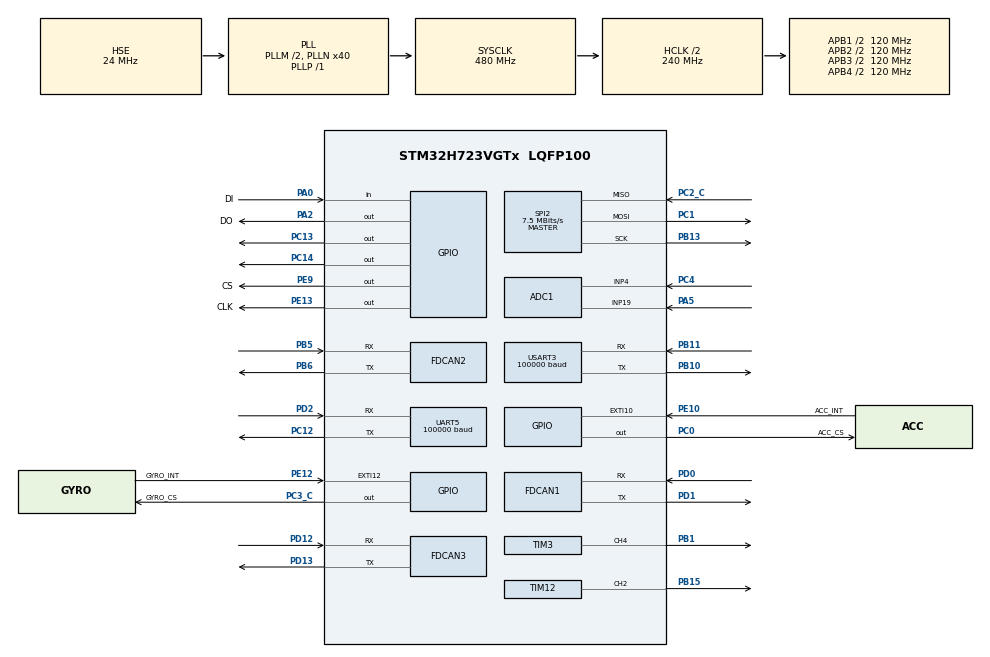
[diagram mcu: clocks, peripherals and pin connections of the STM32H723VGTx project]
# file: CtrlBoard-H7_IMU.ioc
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ADC1.Channel-0\#ChannelRegularConversion=ADC_CHANNEL_4
ADC1.Channel-1\#ChannelRegularConversion=ADC_CHANNEL_19
ADC1.ClockPrescaler=ADC_CLOCK_ASYNC_DIV64
ADC1.ContinuousConvMode=ENABLE
ADC1.ConversionDataManagement=ADC_CONVERSIONDATA_DMA_CIRCULAR
ADC1.NbrOfConversion=2
ADC1.NbrOfConversionFlag=1
ADC1.OffsetNumber-0\#ChannelRegularConversion=ADC_OFFSET_NONE
ADC1.OffsetNumber-1\#ChannelRegularConversion=ADC_OFFSET_NONE
ADC1.OffsetSignedSaturation-0\#ChannelRegularConversion=DISABLE
ADC1.OffsetSignedSaturation-1\#ChannelRegularConversion=DISABLE
ADC1.Rank-0\#ChannelRegularConversion=1
ADC1.Rank-1\#ChannelRegularConversion=2
ADC1.SamplingTime-0\#ChannelRegularConversion=ADC_SAMPLETIME_32CYCLES_5
ADC1.SamplingTime-1\#ChannelRegularConversion=ADC_SAMPLETIME_32CYCLES_5
ADC1.master=1
Dma.ADC1.3.Direction=DMA_PERIPH_TO_MEMORY
Dma.ADC1.3.EventEnable=DISABLE
Dma.ADC1.3.FIFOMode=DMA_FIFOMODE_DISABLE
Dma.ADC1.3.Instance=DMA1_Stream3
Dma.ADC1.3.MemDataAlignment=DMA_MDATAALIGN_HALFWORD
Dma.ADC1.3.MemInc=DMA_MINC_ENABLE
Dma.ADC1.3.Mode=DMA_CIRCULAR
Dma.ADC1.3.PeriphDataAlignment=DMA_PDATAALIGN_HALFWORD
Dma.ADC1.3.PeriphInc=DMA_PINC_DISABLE
Dma.ADC1.3.Polarity=HAL_DMAMUX_REQ_GEN_RISING
Dma.ADC1.3.Priority=DMA_PRIORITY_LOW
Dma.ADC1.3.RequestNumber=1
Dma.ADC1.3.SignalID=NONE
Dma.ADC1.3.SyncEnable=DISABLE
Dma.ADC1.3.SyncPolarity=HAL_DMAMUX_SYNC_NO_EVENT
Dma.ADC1.3.SyncRequestNumber=1
Dma.ADC1.3.SyncSignalID=NONE
Dma.Request0=SPI2_RX
Dma.Request1=SPI2_TX
Dma.Request2=UART5_RX
Dma.Request3=ADC1
Dma.Request4=USART3_RX
Dma.SPI2_RX.0.Direction=DMA_PERIPH_TO_MEMORY
Dma.SPI2_RX.0.EventEnable=DISABLE
Dma.SPI2_RX.0.FIFOMode=DMA_FIFOMODE_DISABLE
Dma.SPI2_RX.0.Instance=DMA1_Stream0
Dma.SPI2_RX.0.MemDataAlignment=DMA_MDATAALIGN_BYTE
Dma.SPI2_RX.0.MemInc=DMA_MINC_ENABLE
Dma.SPI2_RX.0.Mode=DMA_NORMAL
Dma.SPI2_RX.0.PeriphDataAlignment=DMA_PDATAALIGN_BYTE
Dma.SPI2_RX.0.PeriphInc=DMA_PINC_DISABLE
Dma.SPI2_RX.0.Polarity=HAL_DMAMUX_REQ_GEN_RISING
Dma.SPI2_RX.0.Priority=DMA_PRIORITY_VERY_HIGH
Dma.SPI2_RX.0.RequestNumber=1
Dma.SPI2_RX.0.SignalID=NONE
Dma.SPI2_RX.0.SyncEnable=DISABLE
Dma.SPI2_RX.0.SyncPolarity=HAL_DMAMUX_SYNC_NO_EVENT
Dma.SPI2_RX.0.SyncRequestNumber=1
Dma.SPI2_RX.0.SyncSignalID=NONE
Dma.SPI2_TX.1.Direction=DMA_MEMORY_TO_PERIPH
Dma.SPI2_TX.1.EventEnable=DISABLE
Dma.SPI2_TX.1.FIFOMode=DMA_FIFOMODE_DISABLE
Dma.SPI2_TX.1.Instance=DMA1_Stream2
Dma.SPI2_TX.1.MemDataAlignment=DMA_MDATAALIGN_BYTE
Dma.SPI2_TX.1.MemInc=DMA_MINC_ENABLE
Dma.SPI2_TX.1.Mode=DMA_NORMAL
Dma.SPI2_TX.1.PeriphDataAlignment=DMA_PDATAALIGN_BYTE
Dma.SPI2_TX.1.PeriphInc=DMA_PINC_DISABLE
Dma.SPI2_TX.1.Polarity=HAL_DMAMUX_REQ_GEN_RISING
Dma.SPI2_TX.1.Priority=DMA_PRIORITY_HIGH
Dma.SPI2_TX.1.RequestNumber=1
Dma.SPI2_TX.1.SignalID=NONE
Dma.SPI2_TX.1.SyncEnable=DISABLE
Dma.SPI2_TX.1.SyncPolarity=HAL_DMAMUX_SYNC_NO_EVENT
Dma.SPI2_TX.1.SyncRequestNumber=1
Dma.SPI2_TX.1.SyncSignalID=NONE
Dma.UART5_RX.2.Direction=DMA_PERIPH_TO_MEMORY
Dma.UART5_RX.2.EventEnable=DISABLE
Dma.UART5_RX.2.FIFOMode=DMA_FIFOMODE_DISABLE
Dma.UART5_RX.2.Instance=DMA1_Stream1
Dma.UART5_RX.2.MemDataAlignment=DMA_MDATAALIGN_BYTE
Dma.UART5_RX.2.MemInc=DMA_MINC_ENABLE
Dma.UART5_RX.2.Mode=DMA_CIRCULAR
Dma.UART5_RX.2.PeriphDataAlignment=DMA_PDATAALIGN_BYTE
Dma.UART5_RX.2.PeriphInc=DMA_PINC_DISABLE
Dma.UART5_RX.2.Polarity=HAL_DMAMUX_REQ_GEN_RISING
Dma.UART5_RX.2.Priority=DMA_PRIORITY_LOW
Dma.UART5_RX.2.RequestNumber=1
Dma.UART5_RX.2.SignalID=NONE
Dma.UART5_RX.2.SyncEnable=DISABLE
Dma.UART5_RX.2.SyncPolarity=HAL_DMAMUX_SYNC_NO_EVENT
Dma.UART5_RX.2.SyncRequestNumber=1
Dma.UART5_RX.2.SyncSignalID=NONE
Dma.USART3_RX.4.Direction=DMA_PERIPH_TO_MEMORY
Dma.USART3_RX.4.EventEnable=DISABLE
Dma.USART3_RX.4.FIFOMode=DMA_FIFOMODE_DISABLE
Dma.USART3_RX.4.Instance=DMA1_Stream4
Dma.USART3_RX.4.MemDataAlignment=DMA_MDATAALIGN_BYTE
Dma.USART3_RX.4.MemInc=DMA_MINC_ENABLE
Dma.USART3_RX.4.Mode=DMA_CIRCULAR
Dma.USART3_RX.4.PeriphDataAlignment=DMA_PDATAALIGN_BYTE
Dma.USART3_RX.4.PeriphInc=DMA_PINC_DISABLE
Dma.USART3_RX.4.Polarity=HAL_DMAMUX_REQ_GEN_RISING
Dma.USART3_RX.4.Priority=DMA_PRIORITY_LOW
Dma.USART3_RX.4.RequestNumber=1
Dma.USART3_RX.4.SignalID=NONE
Dma.USART3_RX.4.SyncEnable=DISABLE
Dma.USART3_RX.4.SyncPolarity=HAL_DMAMUX_SYNC_NO_EVENT
Dma.USART3_RX.4.SyncRequestNumber=1
Dma.USART3_RX.4.SyncSignalID=NONE
FDCAN1.CalculateBaudRateNominal=1000000
FDCAN1.CalculateTimeBitNominal=1000
FDCAN1.CalculateTimeQuantumNominal=40.0
FDCAN1.DataPrescaler=4
FDCAN1.DataTimeSeg1=19
FDCAN1.DataTimeSeg2=5
FDCAN1.ExtFiltersNbr=5
FDCAN1.NominalPrescaler=4
FDCAN1.NominalTimeSeg1=19
FDCAN1.NominalTimeSeg2=5
FDCAN1.RxFifo0ElmtSize=FDCAN_DATA_BYTES_24
FDCAN1.RxFifo0ElmtsNbr=4
FDCAN1.RxFifo1ElmtSize=FDCAN_DATA_BYTES_24
FDCAN1.StdFiltersNbr=5
FDCAN1.TxElmtSize=FDCAN_DATA_BYTES_24
FDCAN1.TxFifoQueueElmtsNbr=8
FDCAN2.CalculateBaudRateNominal=1000000
FDCAN2.CalculateTimeBitNominal=1000
FDCAN2.CalculateTimeQuantumNominal=50.0
FDCAN2.DataPrescaler=5
FDCAN2.DataTimeSeg1=14
FDCAN2.DataTimeSeg2=5
FDCAN2.ExtFiltersNbr=5
FDCAN2.MessageRAMOffset=854
FDCAN2.NominalPrescaler=5
FDCAN2.NominalTimeSeg1=14
FDCAN2.NominalTimeSeg2=5
FDCAN2.RxFifo1ElmtSize=FDCAN_DATA_BYTES_24
FDCAN2.RxFifo1ElmtsNbr=4
FDCAN2.StdFiltersNbr=5
FDCAN2.TxElmtSize=FDCAN_DATA_BYTES_16
FDCAN2.TxFifoQueueElmtsNbr=4
FDCAN3.CalculateBaudRateNominal=1000000
FDCAN3.CalculateTimeBitNominal=1000
FDCAN3.CalculateTimeQuantumNominal=50.0
FDCAN3.DataPrescaler=5
FDCAN3.DataTimeSeg1=14
FDCAN3.DataTimeSeg2=5
FDCAN3.ExtFiltersNbr=5
FDCAN3.MessageRAMOffset=1709
FDCAN3.NominalPrescaler=5
FDCAN3.NominalTimeSeg1=14
FDCAN3.NominalTimeSeg2=5
FDCAN3.RxFifo0ElmtsNbr=2
FDCAN3.StdFiltersNbr=5
FDCAN3.TxFifoQueueElmtsNbr=3
FREERTOS.MEMORY_ALLOCATION=0
FREERTOS.Tasks01=defaultTask,-3,128,StartDefaultTask,Default,NULL,Dynamic,NULL,NULL;INS_TASK,3,512,INS_Task,Default,NULL,Dynamic,NULL,NULL;CHASSIS_TASK,1,512,Chassis_Task,Default,NULL,Dynamic,NULL,NULL;OBSERVE_TASK,2,512,OBSERVE_Task,Default,NULL,Dynamic,NULL,NULL;REFEREE,1,128,referee_usart_task,As weak,NULL,Dynamic,NULL,NULL;Ui_task,-3,256,UI_task,As weak,NULL,Dynamic,NULL,NULL
FREERTOS.configENABLE_FPU=1
FREERTOS.configTOTAL_HEAP_SIZE=30720
Mcu.Family=STM32H7
Mcu.Name=STM32H723VGTx
Mcu.Package=LQFP100
NVIC.DMA1_Stream0_IRQn=true\:6\:0\:true\:false\:true\:true\:false\:true\:true
NVIC.DMA1_Stream1_IRQn=true\:5\:0\:false\:false\:true\:true\:false\:true\:true
NVIC.DMA1_Stream2_IRQn=true\:5\:0\:false\:false\:true\:true\:false\:true\:true
NVIC.DMA1_Stream3_IRQn=true\:5\:0\:false\:false\:true\:true\:false\:true\:true
NVIC.DMA1_Stream4_IRQn=true\:5\:0\:false\:false\:true\:true\:false\:true\:true
NVIC.FDCAN1_IT0_IRQn=true\:6\:0\:true\:false\:true\:true\:true\:true\:true
NVIC.FDCAN2_IT0_IRQn=true\:5\:0\:true\:false\:true\:true\:true\:true\:true
NVIC.FDCAN3_IT0_IRQn=true\:5\:0\:false\:false\:true\:true\:true\:true\:true
NVIC.PriorityGroup=NVIC_PRIORITYGROUP_4
NVIC.SPI2_IRQn=true\:5\:0\:true\:false\:true\:true\:false\:true\:true
NVIC.TIM2_IRQn=true\:15\:0\:false\:false\:true\:false\:false\:true\:true
NVIC.TimeBase=TIM2_IRQn
NVIC.TimeBaseIP=TIM2
NVIC.UART5_IRQn=true\:5\:0\:false\:false\:true\:true\:true\:true\:true
NVIC.USART3_IRQn=true\:5\:0\:false\:false\:true\:true\:true\:true\:true
PA0.GPIO_Label=DI
PA0.GPIO_PuPd=GPIO_PULLUP
PA0.Signal=GPIO_Input
PA13(JTMS/SWDIO).Mode=Serial_Wire
PA13(JTMS/SWDIO).Signal=DEBUG_JTMS-SWDIO
PA14(JTCK/SWCLK).Mode=Serial_Wire
PA14(JTCK/SWCLK).Signal=DEBUG_JTCK-SWCLK
PA2.GPIO_Label=DO
PA2.GPIO_PuPd=GPIO_PULLUP
PA2.GPIO_Speed=GPIO_SPEED_FREQ_VERY_HIGH
PA2.PinState=GPIO_PIN_SET
PA2.Signal=GPIO_Output
PA5.Signal=ADCx_INP19
PB1.Signal=S_TIM3_CH4
PB10.Mode=Asynchronous
PB10.Signal=USART3_TX
PB11.Mode=Asynchronous
PB11.Signal=USART3_RX
PB13.GPIO_Speed=GPIO_SPEED_FREQ_VERY_HIGH
PB13.Mode=Full_Duplex_Master
PB13.Signal=SPI2_SCK
PB15.Signal=S_TIM12_CH2
PB5.Mode=FDCAN_Activate
PB5.Signal=FDCAN2_RX
PB6.Mode=FDCAN_Activate
PB6.Signal=FDCAN2_TX
PC0.GPIO_Label=ACC_CS
PC0.GPIO_Speed=GPIO_SPEED_FREQ_VERY_HIGH
PC0.PinState=GPIO_PIN_SET
PC0.Signal=GPIO_Output
PC1.GPIO_Speed=GPIO_SPEED_FREQ_VERY_HIGH
PC1.Mode=Full_Duplex_Master
PC1.Signal=SPI2_MOSI
PC12.Mode=Asynchronous
PC12.Signal=UART5_TX
PC13.Signal=GPIO_Output
PC14-OSC32_IN.Signal=GPIO_Output
PC2_C.GPIO_Speed=GPIO_SPEED_FREQ_VERY_HIGH
PC2_C.Mode=Full_Duplex_Master
PC2_C.Signal=SPI2_MISO
PC3_C.GPIO_Label=GYRO_CS
PC3_C.GPIO_Speed=GPIO_SPEED_FREQ_VERY_HIGH
PC3_C.PinState=GPIO_PIN_SET
PC3_C.Signal=GPIO_Output
PC4.Signal=ADCx_INP4
PD0.Mode=FDCAN_Activate
PD0.Signal=FDCAN1_RX
PD1.Mode=FDCAN_Activate
PD1.Signal=FDCAN1_TX
PD12.Mode=FDCAN_Activate
PD12.Signal=FDCAN3_RX
PD13.Mode=FDCAN_Activate
PD13.Signal=FDCAN3_TX
PD2.Mode=Asynchronous
PD2.Signal=UART5_RX
PE10.GPIO_Label=ACC_INT
PE10.Signal=GPXTI10
PE12.GPIO_Label=GYRO_INT
PE12.Signal=GPXTI12
PE13.GPIO_Label=CLK
PE13.GPIO_PuPd=GPIO_PULLUP
PE13.GPIO_Speed=GPIO_SPEED_FREQ_VERY_HIGH
PE13.PinState=GPIO_PIN_SET
PE13.Signal=GPIO_Output
PE9.GPIO_Label=CS
PE9.GPIO_PuPd=GPIO_PULLUP
PE9.GPIO_Speed=GPIO_SPEED_FREQ_VERY_HIGH
PE9.PinState=GPIO_PIN_SET
PE9.Signal=GPIO_Output
PH0-OSC_IN.Mode=HSE-External-Oscillator
PH0-OSC_IN.Signal=RCC_OSC_IN
PH1-OSC_OUT.Mode=HSE-External-Oscillator
PH1-OSC_OUT.Signal=RCC_OSC_OUT
ProjectManager.HeapSize=0x200
ProjectManager.StackSize=0x800
ProjectManager.TargetToolchain=MDK-ARM V5.27
RCC.ADCFreq_Value=100000000
RCC.APB1Freq_Value=120000000
RCC.APB2Freq_Value=120000000
RCC.APB3Freq_Value=120000000
RCC.APB4Freq_Value=120000000
RCC.CortexFreq_Value=480000000
RCC.D1PPRE=RCC_APB3_DIV2
RCC.D2PPRE1=RCC_APB1_DIV2
RCC.D2PPRE2=RCC_APB2_DIV2
RCC.D3PPRE=RCC_APB4_DIV2
RCC.DIVM1=2
RCC.DIVM2=24
RCC.DIVN1=40
RCC.DIVN2=200
RCC.DIVP1=1
RCC.FDCANCLockSelection=RCC_FDCANCLKSOURCE_PLL2
RCC.HCLKFreq_Value=240000000
RCC.HPRE=RCC_HCLK_DIV2
RCC.HSE_VALUE=24000000
RCC.PLL2FRACN=0
RCC.PLL3FRACN=0
RCC.PLLFRACN=0
RCC.PLLSourceVirtual=RCC_PLLSOURCE_HSE
RCC.SYSCLKFreq_VALUE=480000000
RCC.SYSCLKSource=RCC_SYSCLKSOURCE_PLLCLK
RCC.USBFreq_Value=240000000
SH.ADCx_INP19.0=ADC1_INP19,IN19-Single-Ended
SH.ADCx_INP4.0=ADC1_INP4,IN4-Single-Ended
SH.S_TIM12_CH2.0=TIM12_CH2,PWM Generation2 CH2
SH.S_TIM3_CH4.0=TIM3_CH4,PWM Generation4 CH4
SPI2.BaudRatePrescaler=SPI_BAUDRATEPRESCALER_32
SPI2.CLKPhase=SPI_PHASE_2EDGE
SPI2.CLKPolarity=SPI_POLARITY_HIGH
SPI2.CalculateBaudRate=7.5 MBits/s
SPI2.DataSize=SPI_DATASIZE_8BIT
SPI2.Direction=SPI_DIRECTION_2LINES
SPI2.Mode=SPI_MODE_MASTER
SPI2.VirtualType=VM_MASTER
TIM12.Channel-PWM\ Generation2\ CH2=TIM_CHANNEL_2
TIM12.Period=2000-1
TIM12.Prescaler=24-1
TIM12.Pulse-PWM\ Generation2\ CH2=1000
TIM3.AutoReloadPreload=TIM_AUTORELOAD_PRELOAD_ENABLE
TIM3.Channel-PWM\ Generation4\ CH4=TIM_CHANNEL_4
TIM3.Period=10000-1
TIM3.Prescaler=24-1
UART5.BaudRate=100000
UART5.Parity=PARITY_EVEN
UART5.StopBits=UART_STOPBITS_2
UART5.WordLength=WORDLENGTH_9B
USART3.BaudRate=100000
USART3.Parity=PARITY_EVEN
USART3.VirtualMode-Asynchronous=VM_ASYNC
VP_FREERTOS_VS_CMSIS_V1.Mode=CMSIS_V1
VP_SYS_VS_tim2.Mode=TIM2
board=custom

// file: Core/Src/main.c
/* USER CODE BEGIN Header */
/**
  ******************************************************************************
  * @file           : main.c
  * @brief          : Main program body
  ******************************************************************************
  * @attention
  *
  * Copyright (c) 2024 STMicroelectronics.
  * All rights reserved.
  *
  * This software is licensed under terms that can be found in the LICENSE file
  * in the root directory of this software component.
  * If no LICENSE file comes with this software, it is provided AS-IS.
  *
  ******************************************************************************
  */
/* USER CODE END Header */
#include "main.h"
#include "cmsis_os.h"
#include "adc.h"
#include "dma.h"
#include "fdcan.h"
#include "spi.h"
#include "tim.h"
#include "usart.h"
#include "gpio.h"

/* USER CODE BEGIN Includes */
#include "BMI088driver.h"
#include "kalman_filter.h"
#include "mahony_filter.h"
#include "bsp_dwt.h"
#include "BMI088Middleware.h"
#include "can_bsp.h"
#include "uart_bsp.h"
/* USER CODE END Includes */

void SystemClock_Config(void);
void PeriphCommonClock_Config(void);
void MX_FREERTOS_Init(void);

/* USER CODE BEGIN 0 */
uint16_t adc_val[2];

/* USER CODE END 0 */

int main(void)
{

  /* MCU Configuration--------------------------------------------------------*/

  /* Reset of all peripherals, Initializes the Flash interface and the Systick. */
  HAL_Init();

  /* USER CODE BEGIN Init */
//06 01 00 00 00 00 00 00 00 00 00 00 00 00 80 3F
  /* USER CODE END Init */

  /* Configure the system clock */
  SystemClock_Config();

/* Configure the peripherals common clocks */
  PeriphCommonClock_Config();

  /* Initialize all configured peripherals */
  MX_GPIO_Init();
  MX_DMA_Init();
  MX_SPI2_Init();
  MX_FDCAN1_Init();
  MX_FDCAN2_Init();
  MX_TIM3_Init();
  MX_FDCAN3_Init();
  MX_UART5_Init();
  MX_ADC1_Init();
  MX_TIM12_Init();
  MX_USART3_UART_Init();
  /* USER CODE BEGIN 2 */
	DWT_Init(480);

	dbus_uart_init();

    /* BMI088初始化 */
  while (BMI088_init(&hspi2, 0) != BMI088_NO_ERROR)
	{
	  ;
	}
	Power_OUT1_ON;//imu初始化完成，可控电源打开，led灯亮
	Power_OUT2_ON;

  FDCAN1_Config();//can过滤器初始化
	FDCAN2_Config();

	HAL_ADCEx_Calibration_Start(&hadc1, ADC_CALIB_OFFSET, ADC_SINGLE_ENDED);
	HAL_ADC_Start_DMA(&hadc1, (uint32_t *)adc_val,2);
  /* USER CODE END 2 */

  /* Call init function for freertos objects (in freertos.c) */
  MX_FREERTOS_Init();

  /* Start scheduler */
  osKernelStart();

  /* We should never get here as control is now taken by the scheduler */
  /* Infinite loop */
  while (1)
  {

  }
}

void SystemClock_Config(void)
{
  RCC_OscInitTypeDef RCC_OscInitStruct = {0};
  RCC_ClkInitTypeDef RCC_ClkInitStruct = {0};

  /** Supply configuration update enable
  */
  HAL_PWREx_ConfigSupply(PWR_LDO_SUPPLY);

  /** Configure the main internal regulator output voltage
  */
  __HAL_PWR_VOLTAGESCALING_CONFIG(PWR_REGULATOR_VOLTAGE_SCALE0);

  while(!__HAL_PWR_GET_FLAG(PWR_FLAG_VOSRDY)) {}

  /** Initializes the RCC Oscillators according to the specified parameters
  * in the RCC_OscInitTypeDef structure.
  */
  RCC_OscInitStruct.OscillatorType = RCC_OSCILLATORTYPE_HSE;
  RCC_OscInitStruct.HSEState = RCC_HSE_ON;
  RCC_OscInitStruct.PLL.PLLState = RCC_PLL_ON;
  RCC_OscInitStruct.PLL.PLLSource = RCC_PLLSOURCE_HSE;
  RCC_OscInitStruct.PLL.PLLM = 2;
  RCC_OscInitStruct.PLL.PLLN = 40;
  RCC_OscInitStruct.PLL.PLLP = 1;
  RCC_OscInitStruct.PLL.PLLQ = 2;
  RCC_OscInitStruct.PLL.PLLR = 2;
  RCC_OscInitStruct.PLL.PLLRGE = RCC_PLL1VCIRANGE_3;
  RCC_OscInitStruct.PLL.PLLVCOSEL = RCC_PLL1VCOWIDE;
  RCC_OscInitStruct.PLL.PLLFRACN = 0;
  if (HAL_RCC_OscConfig(&RCC_OscInitStruct) != HAL_OK)
  {
    Error_Handler();
  }

  /** Initializes the CPU, AHB and APB buses clocks
  */
  RCC_ClkInitStruct.ClockType = RCC_CLOCKTYPE_HCLK|RCC_CLOCKTYPE_SYSCLK
                              |RCC_CLOCKTYPE_PCLK1|RCC_CLOCKTYPE_PCLK2
                              |RCC_CLOCKTYPE_D3PCLK1|RCC_CLOCKTYPE_D1PCLK1;
  RCC_ClkInitStruct.SYSCLKSource = RCC_SYSCLKSOURCE_PLLCLK;
  RCC_ClkInitStruct.SYSCLKDivider = RCC_SYSCLK_DIV1;
  RCC_ClkInitStruct.AHBCLKDivider = RCC_HCLK_DIV2;
  RCC_ClkInitStruct.APB3CLKDivider = RCC_APB3_DIV2;
  RCC_ClkInitStruct.APB1CLKDivider = RCC_APB1_DIV2;
  RCC_ClkInitStruct.APB2CLKDivider = RCC_APB2_DIV2;
  RCC_ClkInitStruct.APB4CLKDivider = RCC_APB4_DIV2;

  if (HAL_RCC_ClockConfig(&RCC_ClkInitStruct, FLASH_LATENCY_3) != HAL_OK)
  {
    Error_Handler();
  }
}

void PeriphCommonClock_Config(void)
{
  RCC_PeriphCLKInitTypeDef PeriphClkInitStruct = {0};

  /** Initializes the peripherals clock
  */
  PeriphClkInitStruct.PeriphClockSelection = RCC_PERIPHCLK_ADC|RCC_PERIPHCLK_FDCAN;
  PeriphClkInitStruct.PLL2.PLL2M = 24;
  PeriphClkInitStruct.PLL2.PLL2N = 200;
  PeriphClkInitStruct.PLL2.PLL2P = 2;
  PeriphClkInitStruct.PLL2.PLL2Q = 2;
  PeriphClkInitStruct.PLL2.PLL2R = 2;
  PeriphClkInitStruct.PLL2.PLL2RGE = RCC_PLL2VCIRANGE_0;
  PeriphClkInitStruct.PLL2.PLL2VCOSEL = RCC_PLL2VCOMEDIUM;
  PeriphClkInitStruct.PLL2.PLL2FRACN = 0;
  PeriphClkInitStruct.FdcanClockSelection = RCC_FDCANCLKSOURCE_PLL2;
  PeriphClkInitStruct.AdcClockSelection = RCC_ADCCLKSOURCE_PLL2;
  if (HAL_RCCEx_PeriphCLKConfig(&PeriphClkInitStruct) != HAL_OK)
  {
    Error_Handler();
  }
}

void HAL_TIM_PeriodElapsedCallback(TIM_HandleTypeDef *htim)
{
  if (htim->Instance == TIM2) {
    HAL_IncTick();
  }
}

void Error_Handler(void)
{
  __disable_irq();
  while (1)
  {
  }
}

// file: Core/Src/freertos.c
/* USER CODE BEGIN Header */
/**
  ******************************************************************************
  * File Name          : freertos.c
  * Description        : Code for freertos applications
  ******************************************************************************
  * @attention
  *
  * Copyright (c) 2024 STMicroelectronics.
  * All rights reserved.
  *
  * This software is licensed under terms that can be found in the LICENSE file
  * in the root directory of this software component.
  * If no LICENSE file comes with this software, it is provided AS-IS.
  *
  ******************************************************************************
  */
/* USER CODE END Header */

#include "FreeRTOS.h"
#include "task.h"
#include "main.h"
#include "cmsis_os.h"

/* USER CODE BEGIN Includes */
#include "INS_task.h"
#include "chassis_task.h"
#include "observe_task.h"
#include "ps2_task.h"
#include "remote_task.h"
#include "watch_task.h"
#include "referee_usart_task.h"
/* USER CODE END Includes */

osThreadId defaultTaskHandle;
osThreadId INS_TASKHandle;
osThreadId CHASSIS_TASKHandle;
osThreadId OBSERVE_TASKHandle;
osThreadId REFEREEHandle;
osThreadId Ui_taskHandle;

void StartDefaultTask(void const * argument);
void INS_Task(void const * argument);
void Chassis_Task(void const * argument);
void OBSERVE_Task(void const * argument);
void referee_usart_task(void const * argument);
void UI_task(void const * argument);

void MX_FREERTOS_Init(void); /* (MISRA C 2004 rule 8.1) */

void MX_FREERTOS_Init(void) {

  /* Create the thread(s) */
  /* definition and creation of defaultTask */
  osThreadDef(defaultTask, StartDefaultTask, osPriorityIdle, 0, 128);
  defaultTaskHandle = osThreadCreate(osThread(defaultTask), NULL);

  /* definition and creation of INS_TASK */
  osThreadDef(INS_TASK, INS_Task, osPriorityRealtime, 0, 512);
  INS_TASKHandle = osThreadCreate(osThread(INS_TASK), NULL);

  /* definition and creation of CHASSIS_TASK */
  osThreadDef(CHASSIS_TASK, Chassis_Task, osPriorityAboveNormal, 0, 512);
  CHASSIS_TASKHandle = osThreadCreate(osThread(CHASSIS_TASK), NULL);

  /* definition and creation of OBSERVE_TASK */
  osThreadDef(OBSERVE_TASK, OBSERVE_Task, osPriorityHigh, 0, 512);
  OBSERVE_TASKHandle = osThreadCreate(osThread(OBSERVE_TASK), NULL);

  /* definition and creation of REFEREE */
  osThreadDef(REFEREE, referee_usart_task, osPriorityAboveNormal, 0, 128);
  REFEREEHandle = osThreadCreate(osThread(REFEREE), NULL);

  /* definition and creation of Ui_task */
  osThreadDef(Ui_task, UI_task, osPriorityIdle, 0, 256);
  Ui_taskHandle = osThreadCreate(osThread(Ui_task), NULL);

}

void StartDefaultTask(void const * argument)
{
  /* USER CODE BEGIN StartDefaultTask */
  /* Infinite loop */
  for(;;)
  {
    osDelay(1000);
  }
  /* USER CODE END StartDefaultTask */
}

void INS_Task(void const * argument)
{
  /* USER CODE BEGIN INS_Task */

  /* Infinite loop */
  for(;;)
  {
    INS_task();
  }
  /* USER CODE END INS_Task */
}

void Chassis_Task(void const * argument)
{
  /* USER CODE BEGIN Chassis_Task */
  /* Infinite loop */
  for(;;)
  {
    chassis_task();
  }
  /* USER CODE END Chassis_Task */
}

void OBSERVE_Task(void const * argument)
{
  /* USER CODE BEGIN OBSERVE_Task */
  /* Infinite loop */
  for(;;)
  {
    Observe_task();
  }
  /* USER CODE END OBSERVE_Task */
}

__weak void referee_usart_task(void const * argument)
{
  for(;;)
  {
    osDelay(1);
  }
}

__weak void UI_task(void const * argument)
{
  for(;;)
  {
    osDelay(1);
  }
}
